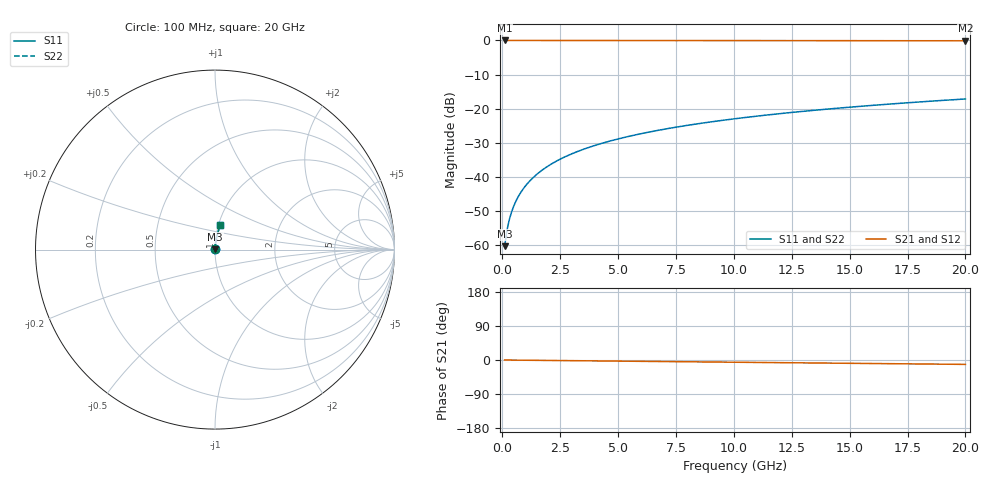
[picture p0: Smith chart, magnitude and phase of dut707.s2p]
! Touchstone file exported from HFSS 2026.1.0
!  File:  C:/ffzhzh/LocalFiles/Ansys_Project_Files/temp_train_BSMRDL_707_1783168135_51560.aedt
!  Generated:  08:30:07 PM Jul  4, 2026
!  Design:  BSMRDL
!  Project:  temp_train_BSMRDL_707_1783168135_51560
! Variables:
!  h_bsmrdl = 5um
!  h_ox = 20um
!  h_rdl = 5um
!  h_sub = 80um
!  h_tmrdl = 5um
!  h_tsv = 80um
!  h_via = 3um
!  l_bsmrdl = 111.88um
!  l_sub = 511.88um
!  l_tmrdl = 200um
!  m_sub = 200um
!  pitch = 54.38um
!  r_tsv = 6um
!  s_tmrdl = 10um
!  w_bsmrdl = 17.63um
!  w_sub = 500um
!  w_tmrdl = 12um
!  x_tsv_center1 = 206um
!  x_tsv_center2 = 335.51um
!  x_tsv_center3 = 547.51um
!  x_tsv_center4 = 677.02um
!  x_tsv_center5 = 889.02um
!  x_tsv_center6 = 1018.53um
# GHz S MA R 50.000000
! Terminal data exported
! Port[1] = BSM_RDL1_1_T1
! Port[2] = BSM_RDL1_1_T2
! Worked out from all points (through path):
!   200 points, 100 MHz to 20 GHz, reference 50 ohm
!   highest |S21| = -0.01 dB at 100 MHz (marker M1); lowest = -0.1 dB at 20 GHz (marker M2)
!   group delay of S21, straight-line fit = 1.6 ps
!   lowest |S11| = -60.3 dB at 100 MHz (marker M3), VSWR 1.00, Z = 50.1 + j0.0761 ohm
!   |S11| at or under -10 dB: start of sweep to end of sweep
!   |S22| runs from -60.3 to -17.2 dB; largest |S21 - S12| = 3.3e-15
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0.1  0.0009614 52.3  0.9994 -0.1  0.9994 -0.1  0.0009614 52.3
! Gamma 0 0 0 0
! Port Impedance 50 0 50 0
0.2  0.001629 67.9  0.9994 -0.1  0.9994 -0.1  0.001629 67.9
0.3  0.002336 74.1  0.9994 -0.2  0.9994 -0.2  0.002336 74.1
0.4  0.003048 77.3  0.9993 -0.2  0.9993 -0.2  0.003048 77.3
0.5  0.003762 79.4  0.9993 -0.3  0.9993 -0.3  0.003762 79.4
0.7  0.005193 81.8  0.9993 -0.4  0.9993 -0.4  0.005193 81.8
0.8  0.005911 82.6  0.9993 -0.5  0.9993 -0.5  0.005911 82.6
1  0.007349 83.7  0.9992 -0.6  0.9992 -0.6  0.007349 83.7
1.2  0.00879 84.4  0.9992 -0.7  0.9992 -0.7  0.00879 84.4
1.4  0.01023 84.8  0.9992 -0.8  0.9992 -0.8  0.01023 84.8
1.7  0.01239 85.3  0.9991 -1.0  0.9991 -1.0  0.01239 85.3
2  0.01456 85.5  0.999 -1.2  0.999 -1.2  0.01456 85.5
2.7  0.01958 85.6  0.9989 -1.6  0.9989 -1.6  0.01958 85.6
3.5  0.0253 85.5  0.9986 -2.1  0.9986 -2.1  0.0253 85.5
4.2  0.03028 85.2  0.9983 -2.5  0.9983 -2.5  0.03028 85.3
5  0.03593 84.9  0.998 -3.0  0.998 -3.0  0.03593 84.9
6.8  0.04855 84.1  0.9972 -4.0  0.9972 -4.0  0.04855 84.1
8.3  0.05899 83.4  0.9964 -4.9  0.9964 -4.9  0.05899 83.4
10.1  0.07144 82.5  0.9954 -5.9  0.9954 -5.9  0.07144 82.5
13.4  0.09409 80.8  0.9932 -7.8  0.9932 -7.8  0.09409 80.8
16.7  0.1165 79.0  0.9906 -9.7  0.9906 -9.7  0.1165 79.0
20  0.1386 77.2  0.9875 -11.6  0.9875 -11.6  0.1386 77.2
